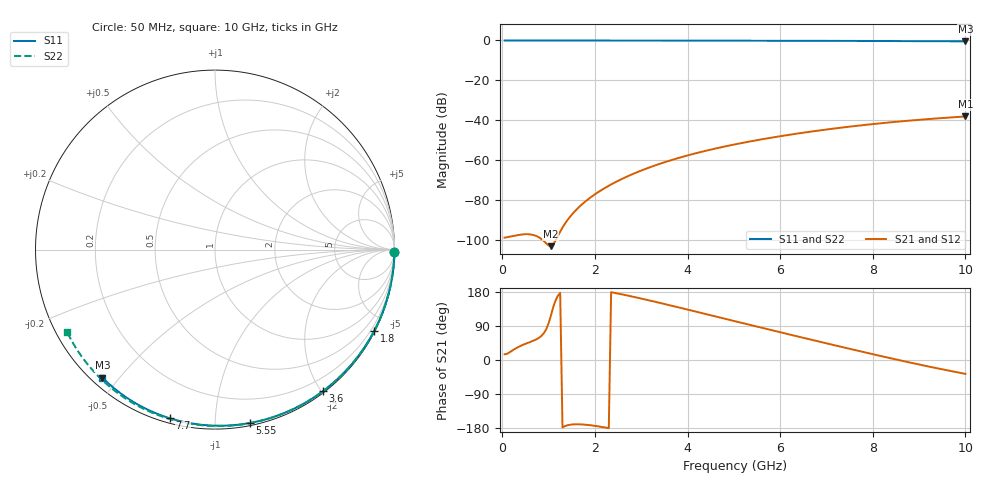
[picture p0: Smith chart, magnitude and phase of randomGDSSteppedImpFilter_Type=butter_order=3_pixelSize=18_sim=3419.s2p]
! freq	dB(S11)	phase(S11)	dB(S12)	phase(S12)
!  dB(S21)	phase(S21)	dB(S22)	phase(S22)
!S-par simulation data
#  GHz  S  DB  R 50
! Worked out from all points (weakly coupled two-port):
!   200 points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, 50 MHz to 10 GHz, reference 50 ohm
!   highest |S21| = -38.13 dB at 10 GHz (marker M1); lowest = -103.2 dB at 1.05 GHz (marker M2)
!   lowest |S11| = -0.4 dB at 10 GHz (marker M3), VSWR 38.73, Z = 1.56 - j22.6 ohm
!   |S11| at or under -10 dB: nowhere
!   |S22| runs from -0.5 to 0.0 dB; largest |S21 - S12| = 0
!   S11 on the Smith chart (normalised r, x): 50 MHz: open; 1.8 GHz: 0.04, -4.18; 3.6 GHz: 0.02, -2.02; 5.55 GHz: 0.02, -1.22; 7.7 GHz: 0.02, -0.77; 10 GHz: 0.03, -0.45
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0.05  -0.00 -0.8  -98.92 15.1  -98.92 15.1  -0.00 -0.9
0.55  -0.01 -8.3  -97.19 45.1  -97.19 45.1  -0.01 -9.5
1.05  -0.02 -15.8  -103.19 117.3  -103.19 117.3  -0.02 -18.0
1.75  -0.03 -26.2  -81.62 -170.3  -81.62 -170.3  -0.04 -29.8
1.8  -0.03 -26.9  -80.64 -170.8  -80.64 -170.8  -0.04 -30.7
1.85  -0.04 -27.6  -79.72 -171.4  -79.72 -171.4  -0.04 -31.5
2  -0.04 -29.8  -77.17 -173.8  -77.17 -173.8  -0.04 -34.0
2.15  -0.04 -32.0  -74.91 -176.7  -74.91 -176.7  -0.05 -36.5
2.35  -0.04 -34.9  -72.22 178.9  -72.22 178.9  -0.05 -39.8
2.55  -0.05 -37.8  -69.83 174.1  -69.83 174.1  -0.05 -43.0
2.95  -0.06 -43.5  -65.72 163.5  -65.72 163.5  -0.06 -49.5
3.4  -0.07 -49.8  -61.88 150.8  -61.88 150.8  -0.07 -56.7
3.6  -0.07 -52.6  -60.38 144.9  -60.38 144.9  -0.08 -59.8
4.3  -0.09 -62.2  -55.87 124.1  -55.87 124.1  -0.10 -70.6
5.05  -0.11 -72.1  -52.00 101.6  -52.00 101.6  -0.13 -81.9
5.55  -0.13 -78.6  -49.80 86.6  -49.80 86.6  -0.15 -89.2
6.1  -0.15 -85.6  -47.67 70.3  -47.67 70.3  -0.17 -97.0
6.7  -0.18 -93.0  -45.61 52.7  -45.61 52.7  -0.21 -105.5
7.7  -0.24 -105.0  -42.70 23.8  -42.70 23.8  -0.27 -119.2
8.35  -0.29 -112.6  -41.13 5.6  -41.13 5.6  -0.33 -128.1
9.2  -0.36 -122.3  -39.43 -17.1  -39.43 -17.1  -0.41 -139.7
10  -0.45 -131.3  -38.13 -36.6  -38.13 -36.6  -0.51 -150.8
